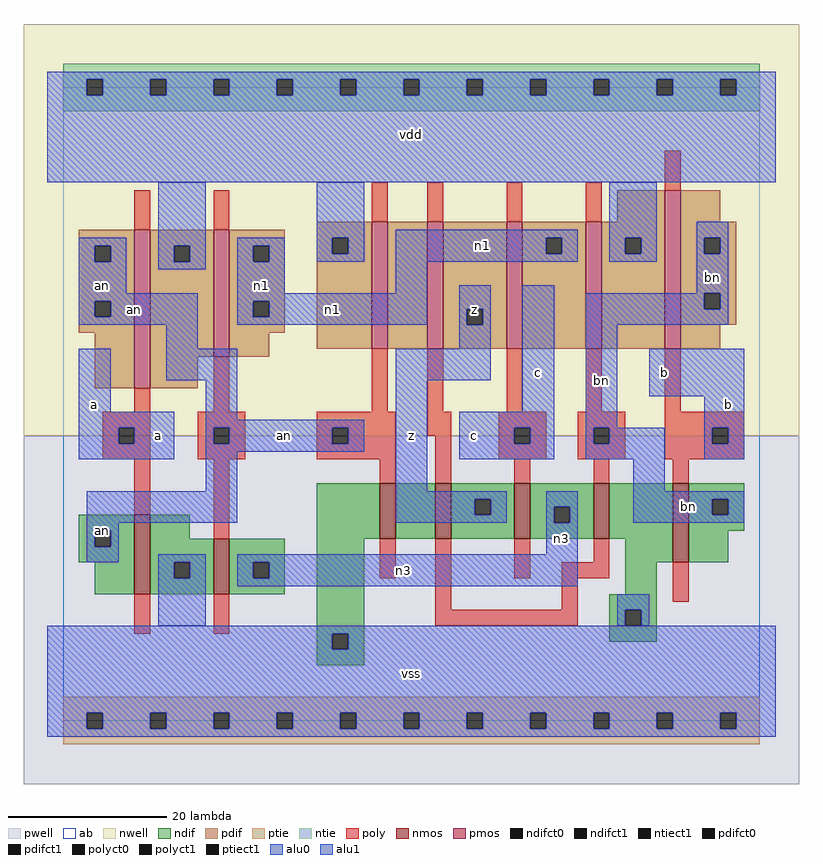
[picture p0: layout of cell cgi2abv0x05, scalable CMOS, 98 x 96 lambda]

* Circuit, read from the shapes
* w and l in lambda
.subckt cgi2abv0x05 a an b bn c n1 n3 vdd vss z
M1 vss a an vss nfet w=10 l=2
M2 n3 an vss vss nfet w=7 l=2
M3 n2 an vss vss nfet w=7 l=2
M4 z bn n2 vss nfet w=7 l=2
M5 n3 c z vss nfet w=7 l=2
M6 vss bn n3 vss nfet w=7 l=2
M7 bn b vss vss nfet w=10 l=2
M8 vdd a an vdd pfet w=20 l=2
M9 n1 an vdd vdd pfet w=16 l=2
M10 n4 an vdd vdd pfet w=16 l=2
M11 z bn n4 vdd pfet w=16 l=2
M12 n1 c z vdd pfet w=16 l=2
M13 vdd bn n1 vdd pfet w=16 l=2
M14 bn b vdd vdd pfet w=20 l=2
.ends

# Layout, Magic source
magic
tech scmos
<< ab >>
rect 0 0 88 80
<< nwell >>
rect -5 36 93 88
<< pwell >>
rect -5 -8 93 36
<< poly >>
rect 9 62 11 67
rect 19 62 21 67
rect 39 63 41 68
rect 46 63 48 68
rect 56 63 58 68
rect 66 63 68 68
rect 76 67 78 72
rect 9 39 11 42
rect 19 39 21 46
rect 39 39 41 47
rect 46 39 48 47
rect 56 39 58 47
rect 66 39 68 47
rect 76 39 78 47
rect 5 37 11 39
rect 5 35 7 37
rect 9 35 11 37
rect 5 33 11 35
rect 17 37 23 39
rect 17 35 19 37
rect 21 35 23 37
rect 17 33 23 35
rect 32 37 42 39
rect 32 35 34 37
rect 36 35 42 37
rect 46 36 49 39
rect 32 33 42 35
rect 9 26 11 33
rect 19 23 21 33
rect 40 30 42 33
rect 47 30 49 36
rect 55 37 61 39
rect 55 35 57 37
rect 59 35 61 37
rect 55 33 61 35
rect 65 37 71 39
rect 65 35 67 37
rect 69 35 71 37
rect 65 33 71 35
rect 76 37 86 39
rect 76 35 82 37
rect 84 35 86 37
rect 76 33 86 35
rect 57 30 59 33
rect 67 30 69 33
rect 77 30 79 33
rect 9 11 11 16
rect 19 11 21 16
rect 40 18 42 23
rect 47 14 49 23
rect 57 18 59 23
rect 67 20 69 23
rect 63 18 69 20
rect 63 14 65 18
rect 47 12 65 14
rect 77 15 79 20
<< ndif >>
rect 2 24 9 26
rect 2 22 4 24
rect 6 22 9 24
rect 2 20 9 22
rect 4 16 9 20
rect 11 23 16 26
rect 32 23 40 30
rect 42 23 47 30
rect 49 28 57 30
rect 49 26 52 28
rect 54 26 57 28
rect 49 23 57 26
rect 59 27 67 30
rect 59 25 62 27
rect 64 25 67 27
rect 59 23 67 25
rect 69 23 77 30
rect 11 20 19 23
rect 11 18 14 20
rect 16 18 19 20
rect 11 16 19 18
rect 21 20 28 23
rect 21 18 24 20
rect 26 18 28 20
rect 21 16 28 18
rect 32 11 38 23
rect 71 20 77 23
rect 79 28 86 30
rect 79 26 82 28
rect 84 26 86 28
rect 79 24 86 26
rect 79 20 84 24
rect 71 16 75 20
rect 69 14 75 16
rect 69 12 71 14
rect 73 12 75 14
rect 32 9 34 11
rect 36 9 38 11
rect 69 10 75 12
rect 32 7 38 9
<< pdif >>
rect 70 63 76 67
rect 2 60 9 62
rect 2 58 4 60
rect 6 58 9 60
rect 2 53 9 58
rect 2 51 4 53
rect 6 51 9 53
rect 2 49 9 51
rect 4 42 9 49
rect 11 60 19 62
rect 11 58 14 60
rect 16 58 19 60
rect 11 46 19 58
rect 21 60 28 62
rect 21 58 24 60
rect 26 58 28 60
rect 21 53 28 58
rect 21 51 24 53
rect 26 51 28 53
rect 21 49 28 51
rect 32 61 39 63
rect 32 59 34 61
rect 36 59 39 61
rect 21 46 26 49
rect 32 47 39 59
rect 41 47 46 63
rect 48 52 56 63
rect 48 50 51 52
rect 53 50 56 52
rect 48 47 56 50
rect 58 61 66 63
rect 58 59 61 61
rect 63 59 66 61
rect 58 47 66 59
rect 68 61 76 63
rect 68 59 71 61
rect 73 59 76 61
rect 68 47 76 59
rect 78 63 83 67
rect 78 61 85 63
rect 78 59 81 61
rect 83 59 85 61
rect 78 54 85 59
rect 78 52 81 54
rect 83 52 85 54
rect 78 50 85 52
rect 78 47 83 50
rect 11 42 17 46
<< alu1 >>
rect -2 81 90 82
rect -2 79 3 81
rect 5 79 11 81
rect 13 79 19 81
rect 21 79 27 81
rect 29 79 35 81
rect 37 79 43 81
rect 45 79 51 81
rect 53 79 59 81
rect 61 79 67 81
rect 69 79 75 81
rect 77 79 83 81
rect 85 79 90 81
rect -2 68 90 79
rect 50 52 54 55
rect 50 50 51 52
rect 53 50 54 52
rect 50 47 54 50
rect 2 39 6 47
rect 2 37 14 39
rect 2 35 7 37
rect 9 35 14 37
rect 2 33 14 35
rect 42 43 54 47
rect 42 29 46 43
rect 58 39 62 55
rect 50 37 62 39
rect 50 35 57 37
rect 59 35 62 37
rect 50 33 62 35
rect 74 41 86 47
rect 81 37 86 41
rect 81 35 82 37
rect 84 35 86 37
rect 81 33 86 35
rect 42 28 56 29
rect 42 26 52 28
rect 54 26 56 28
rect 42 25 56 26
rect -2 11 90 12
rect -2 9 34 11
rect 36 9 90 11
rect -2 1 90 9
rect -2 -1 3 1
rect 5 -1 11 1
rect 13 -1 19 1
rect 21 -1 27 1
rect 29 -1 35 1
rect 37 -1 43 1
rect 45 -1 51 1
rect 53 -1 59 1
rect 61 -1 67 1
rect 69 -1 75 1
rect 77 -1 83 1
rect 85 -1 90 1
rect -2 -2 90 -1
<< ptie >>
rect 0 1 88 3
rect 0 -1 3 1
rect 5 -1 11 1
rect 13 -1 19 1
rect 21 -1 27 1
rect 29 -1 35 1
rect 37 -1 43 1
rect 45 -1 51 1
rect 53 -1 59 1
rect 61 -1 67 1
rect 69 -1 75 1
rect 77 -1 83 1
rect 85 -1 88 1
rect 0 -3 88 -1
<< ntie >>
rect 0 81 88 83
rect 0 79 3 81
rect 5 79 11 81
rect 13 79 19 81
rect 21 79 27 81
rect 29 79 35 81
rect 37 79 43 81
rect 45 79 51 81
rect 53 79 59 81
rect 61 79 67 81
rect 69 79 75 81
rect 77 79 83 81
rect 85 79 88 81
rect 0 77 88 79
<< nmos >>
rect 9 16 11 26
rect 40 23 42 30
rect 47 23 49 30
rect 57 23 59 30
rect 67 23 69 30
rect 19 16 21 23
rect 77 20 79 30
<< pmos >>
rect 9 42 11 62
rect 19 46 21 62
rect 39 47 41 63
rect 46 47 48 63
rect 56 47 58 63
rect 66 47 68 63
rect 76 47 78 67
<< polyct0 >>
rect 19 35 21 37
rect 34 35 36 37
rect 67 35 69 37
<< polyct1 >>
rect 7 35 9 37
rect 57 35 59 37
rect 82 35 84 37
<< ndifct0 >>
rect 4 22 6 24
rect 62 25 64 27
rect 14 18 16 20
rect 24 18 26 20
rect 82 26 84 28
rect 71 12 73 14
<< ndifct1 >>
rect 52 26 54 28
rect 34 9 36 11
<< ntiect1 >>
rect 3 79 5 81
rect 11 79 13 81
rect 19 79 21 81
rect 27 79 29 81
rect 35 79 37 81
rect 43 79 45 81
rect 51 79 53 81
rect 59 79 61 81
rect 67 79 69 81
rect 75 79 77 81
rect 83 79 85 81
<< ptiect1 >>
rect 3 -1 5 1
rect 11 -1 13 1
rect 19 -1 21 1
rect 27 -1 29 1
rect 35 -1 37 1
rect 43 -1 45 1
rect 51 -1 53 1
rect 59 -1 61 1
rect 67 -1 69 1
rect 75 -1 77 1
rect 83 -1 85 1
<< pdifct0 >>
rect 4 58 6 60
rect 4 51 6 53
rect 14 58 16 60
rect 24 58 26 60
rect 24 51 26 53
rect 34 59 36 61
rect 61 59 63 61
rect 71 59 73 61
rect 81 59 83 61
rect 81 52 83 54
<< pdifct1 >>
rect 51 50 53 52
<< alu0 >>
rect 2 60 8 61
rect 2 58 4 60
rect 6 58 8 60
rect 2 54 8 58
rect 12 60 18 68
rect 32 61 38 68
rect 12 58 14 60
rect 16 58 18 60
rect 12 57 18 58
rect 22 60 28 61
rect 22 58 24 60
rect 26 58 28 60
rect 32 59 34 61
rect 36 59 38 61
rect 32 58 38 59
rect 42 61 65 62
rect 42 59 61 61
rect 63 59 65 61
rect 42 58 65 59
rect 69 61 75 68
rect 69 59 71 61
rect 73 59 75 61
rect 69 58 75 59
rect 80 61 84 63
rect 80 59 81 61
rect 83 59 84 61
rect 22 54 28 58
rect 42 54 46 58
rect 2 53 17 54
rect 2 51 4 53
rect 6 51 17 53
rect 2 50 17 51
rect 22 53 46 54
rect 22 51 24 53
rect 26 51 46 53
rect 22 50 46 51
rect 13 47 17 50
rect 13 43 22 47
rect 18 38 22 43
rect 18 37 38 38
rect 18 35 19 37
rect 21 35 34 37
rect 36 35 38 37
rect 18 34 38 35
rect 18 29 22 34
rect 3 25 22 29
rect 80 54 84 59
rect 66 52 81 54
rect 83 52 84 54
rect 66 50 84 52
rect 66 37 70 50
rect 66 35 67 37
rect 69 35 76 37
rect 66 33 76 35
rect 72 29 76 33
rect 61 27 65 29
rect 61 25 62 27
rect 64 25 65 27
rect 72 28 86 29
rect 72 26 82 28
rect 84 26 86 28
rect 72 25 86 26
rect 3 24 7 25
rect 3 22 4 24
rect 6 22 7 24
rect 3 20 7 22
rect 61 21 65 25
rect 12 20 18 21
rect 12 18 14 20
rect 16 18 18 20
rect 12 12 18 18
rect 22 20 65 21
rect 22 18 24 20
rect 26 18 65 20
rect 22 17 65 18
rect 70 14 74 16
rect 70 12 71 14
rect 73 12 74 14
<< labels >>
rlabel alu0 5 24 5 24 6 an
rlabel alu0 5 55 5 55 6 an
rlabel alu0 9 52 9 52 6 an
rlabel alu0 28 36 28 36 6 an
rlabel alu0 25 55 25 55 6 n1
rlabel alu0 63 23 63 23 6 n3
rlabel alu0 43 19 43 19 6 n3
rlabel alu0 34 52 34 52 6 n1
rlabel alu0 53 60 53 60 6 n1
rlabel alu0 79 27 79 27 6 bn
rlabel alu0 68 43 68 43 6 bn
rlabel alu0 82 56 82 56 6 bn
rlabel alu1 12 36 12 36 6 a
rlabel alu1 4 40 4 40 6 a
rlabel alu1 44 6 44 6 6 vss
rlabel alu1 44 36 44 36 6 z
rlabel alu1 52 36 52 36 6 c
rlabel alu1 60 44 60 44 6 c
rlabel alu1 52 52 52 52 6 z
rlabel alu1 44 74 44 74 6 vdd
rlabel alu1 76 44 76 44 6 b
rlabel alu1 84 40 84 40 6 b
<< end >>
